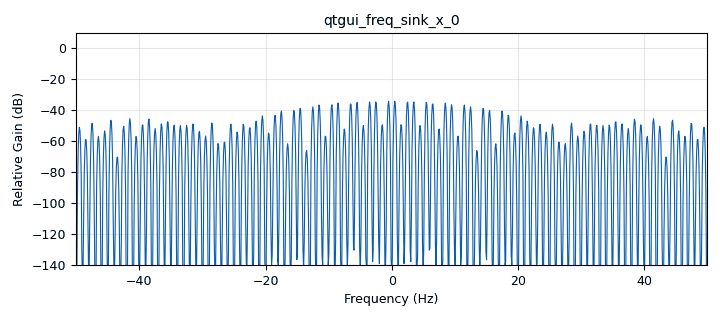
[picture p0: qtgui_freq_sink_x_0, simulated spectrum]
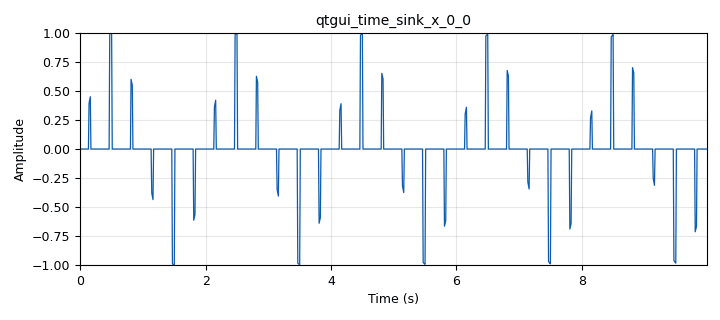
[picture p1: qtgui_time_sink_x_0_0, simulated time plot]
<?xml version='1.0' encoding='utf-8'?>
<?grc format='1' created='3.7.11'?>
<flow_graph>
<block>
<key>options</key>
<param><key>id</key><value>top_block</value></param>
<param><key>generate_options</key><value>qt_gui</value></param>
</block>
<block>
<key>variable</key>
<param><key>id</key><value>duty_cycle</value></param>
<param><key>value</key><value>0.9</value></param>
</block>
<block>
<key>variable</key>
<param><key>id</key><value>samp_rate</value></param>
<param><key>value</key><value>100</value></param>
</block>
<block>
<key>analog_sig_source_x</key>
<param><key>id</key><value>analog_sig_source_x_0</value></param>
<param><key>amp</key><value>1</value></param>
<param><key>freq</key><value>3</value></param>
<param><key>offset</key><value>0</value></param>
<param><key>type</key><value>float</value></param>
<param><key>samp_rate</key><value>samp_rate</value></param>
<param><key>waveform</key><value>analog.GR_SAW_WAVE</value></param>
</block>
<block>
<key>analog_sig_source_x</key>
<param><key>id</key><value>analog_sig_source_x_1</value></param>
<param><key>amp</key><value>1</value></param>
<param><key>freq</key><value>5e6</value></param>
<param><key>offset</key><value>0</value></param>
<param><key>type</key><value>float</value></param>
<param><key>samp_rate</key><value>samp_rate</value></param>
<param><key>waveform</key><value>analog.GR_COS_WAVE</value></param>
</block>
<block>
<key>blocks_multiply_xx</key>
<param><key>id</key><value>blocks_multiply_xx_0</value></param>
<param><key>type</key><value>float</value></param>
</block>
<block>
<key>blocks_threshold_ff</key>
<param><key>id</key><value>blocks_threshold_ff_0</value></param>
<param><key>high</key><value>duty_cycle</value></param>
<param><key>init</key><value>0</value></param>
<param><key>low</key><value>duty_cycle</value></param>
</block>
<block>
<key>qtgui_freq_sink_x</key>
<param><key>id</key><value>qtgui_freq_sink_x_0</value></param>
<param><key>bw</key><value>samp_rate</value></param>
<param><key>fc</key><value>0</value></param>
<param><key>fftsize</key><value>1024</value></param>
<param><key>showports</key><value>True</value></param>
<param><key>type</key><value>float</value></param>
<param><key>wintype</key><value>firdes.WIN_BLACKMAN_hARRIS</value></param>
</block>
<block>
<key>qtgui_time_sink_x</key>
<param><key>id</key><value>qtgui_time_sink_x_0_0</value></param>
<param><key>grid</key><value>True</value></param>
<param><key>color1</key><value>"blue"</value></param>
<param><key>label1</key><value></value></param>
<param><key>size</key><value>int(1e3)</value></param>
<param><key>srate</key><value>samp_rate</value></param>
<param><key>type</key><value>float</value></param>
</block>
<connection><source_block_id>analog_sig_source_x_0</source_block_id><sink_block_id>blocks_threshold_ff_0</sink_block_id><source_key>0</source_key><sink_key>0</sink_key></connection>
<connection><source_block_id>analog_sig_source_x_1</source_block_id><sink_block_id>blocks_multiply_xx_0</sink_block_id><source_key>0</source_key><sink_key>1</sink_key></connection>
<connection><source_block_id>blocks_multiply_xx_0</source_block_id><sink_block_id>qtgui_freq_sink_x_0</sink_block_id><source_key>0</source_key><sink_key>0</sink_key></connection>
<connection><source_block_id>blocks_multiply_xx_0</source_block_id><sink_block_id>qtgui_time_sink_x_0_0</sink_block_id><source_key>0</source_key><sink_key>0</sink_key></connection>
<connection><source_block_id>blocks_threshold_ff_0</source_block_id><sink_block_id>blocks_multiply_xx_0</sink_block_id><source_key>0</source_key><sink_key>0</sink_key></connection>
</flow_graph>
